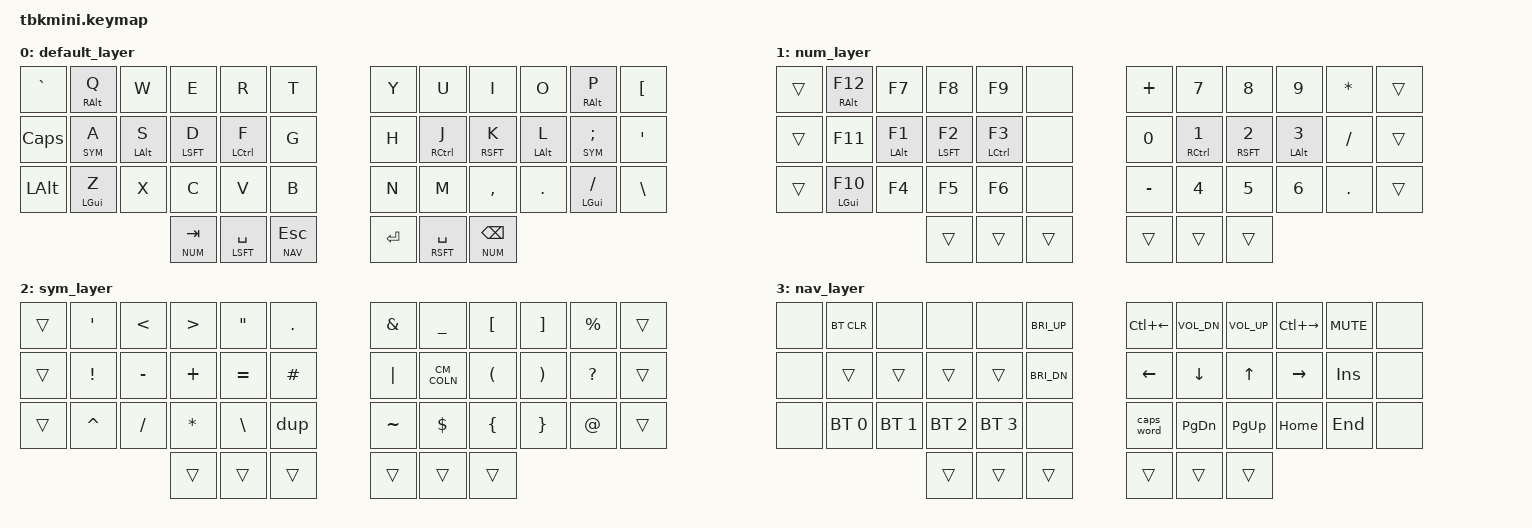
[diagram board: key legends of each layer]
#include <behaviors.dtsi>
#include <dt-bindings/zmk/keys.h>
#include <dt-bindings/zmk/outputs.h>
#include <dt-bindings/zmk/bt.h>
#include "keymap_colemak.h"

#define QWERTY 0
#define NUM 1
#define SYM 2
#define NAV 3

#define L_KEYS 0 1 2 3 4 5 12 13 14 15 16 17 24 25 26 27 28 29
#define R_KEYS 6 7 8 9 10 11 18 19 20 21 22 23 30 31 32 33 34 35
#define THUMBS 36 37 38 39 40 41

&lt {
  tapping-term-ms = <170>;
  quick_tap_ms = <150>;
  flavor = "tap-preferred";
};

&mt {
  tapping-term-ms = <170>;
  compatible = "zmk,behavior-hold-tap";
  #binding-cells = <2>;
  quick-tap-ms = <150>;
  flavor = "tap-preferred";
};

&caps_word {
    /delete-property/ ignore-modifiers;
    continue-list = <UNDERSCORE MINUS Y>;
};

/ {
  chosen {
    zmk,matrix_transform = &default_transform;
  };

  behaviors {
        lhm: left_home_row_mods {
            compatible = "zmk,behavior-hold-tap";
            flavor = "balanced";
            #binding-cells = <2>;
            tapping-term-ms = <200>;
            quick-tap-ms = <175>;                // repeat on tap-into-hold
            require-prior-idle-ms = <100>;
            bindings = <&kp>, <&kp>;
            hold-trigger-key-positions = <R_KEYS THUMBS>;
            hold-trigger-on-release;             // delay positional check until key-release
        };

        rhm: right_home_row_mods {
            compatible = "zmk,behavior-hold-tap";
            flavor = "balanced";
            #binding-cells = <2>;
            tapping-term-ms = <200>;
            quick-tap-ms = <175>;                // repeat on tap-into-hold
            require-prior-idle-ms = <100>;
            bindings = <&kp>, <&kp>;
            hold-trigger-key-positions = <L_KEYS THUMBS>;
            hold-trigger-on-release;             // delay positional check until key-release
        };

        rlm: right_row_layer {
            compatible = "zmk,behavior-hold-tap";
            flavor = "balanced";
            #binding-cells = <2>;
            tapping-term-ms = <200>;
            quick-tap-ms = <175>;                // repeat on tap-into-hold
            require-prior-idle-ms = <100>;
            bindings = <&mo>, <&kp>;
            hold-trigger-key-positions = <L_KEYS THUMBS>;
            hold-trigger-on-release;             // delay positional check until key-release
        };

        llm: left_row_layer {
            compatible = "zmk,behavior-hold-tap";
            flavor = "balanced";
            #binding-cells = <2>;
            tapping-term-ms = <200>;
            quick-tap-ms = <175>;                // repeat on tap-into-hold
            require-prior-idle-ms = <100>;
            bindings = <&mo>, <&kp>;
            hold-trigger-key-positions = <R_KEYS THUMBS>;
            hold-trigger-on-release;             // delay positional check until key-release
        };
    };

  macros {
        dup: dup {
            compatible = "zmk,behavior-macro";
            #binding-cells = <0>;
            bindings
                = <&macro_tap &kp DOT &kp DOT &kp FSLH>
                ;
        };
    };

  keymap {
        compatible = "zmk,keymap";

                default_layer {
// /--------------------------------------------------------------\       /-------------------------------------------------------------\
// |   ESC        |    Q    |    W   |   E    |    R    |    T    |       |    Y    |    U    |    I    |    O    |     P    |    \     |
// |--------------+---------+--------+--------+---------+---------|       |---------+---------+---------+---------+----------+----------|
// |   CAPSLCK    |    A    |    S   |   D    |    F    |    G    |       |    H    |    J    |    K    |    L    |     ;    |     '    |
// |--------------+---------+--------+--------+---------+---------|       |---------+---------+---------+---------+----------+----------|
// |   ALT        |    Z    |    X   |   C    |    V    |    B    |       |    N    |    M    |    ,    |    .    |     /    | ` | ALT  |
// \---------------------------------+--------+---------+---------+       |---------+---------+---------+-------------------------------/
//                                   | NUM/TAB|   SPC   | NAV/ESC |       | NAV/ENT |   SPC   | NUM/BSPC|
//                                   \--------+---------+---------/       \---------+---------+---------/

                        bindings = <
   &kp GRAVE   &lhm RALT Q  &kp W         &kp E         &kp R            &kp T            &kp Y    &kp U            &kp I         &kp O           &rhm RALT P     &kp LBKT
   &kp CLCK    &llm SYM A   &lhm LALT S   &lhm LSFT D   &lhm LCTL F      &kp G            &kp H    &rhm RCTL J      &rhm RSFT K   &rhm LALT L     &rlm SYM SEMI   &kp SQT
   &kp LALT    &lhm LGUI Z  &kp X         &kp C         &kp V            &kp B            &kp N    &kp M            &kp COMMA     &kp DOT         &rhm LGUI FSLH  &kp BSLH
                                          &lt NUM TAB   &lhm LSFT SPACE  &lt NAV ESC      &kp RET  &rhm RSFT SPACE  &lt NUM BSPC
                        >;
                };

                num_layer {
// /--------------------------------------------------------------\       /-----------------------------------------------------------\
// |              |    F12   |    F7  |   F8   |   F9   |         |       |   +   |    7    |    8    |    9    |     *    |          |
// |--------------+----------+--------+--------+--------+---------|       |-------+---------+---------+---------+----------+----------|
// |              |    F11   |    F1  |   F2   |   F3   |         |       |   0   |    1    |    2    |    3    |     /    |          |
// |--------------+----------+--------+--------+--------+---------|       |-------+---------+---------+---------+----------+----------|
// |              |    F10   |    F4  |   F5   |   F6   |         |       |   -   |    4    |    5    |    6    |     .    |          |
// \----------------------------------+--------+--------+---------+       |-------+---------+---------+-------------------------------/
//                                   |        |         |         |       |       |         |         |
//                                   \--------+---------+---------/       \-------+---------+---------/

                        bindings = <
   &trans   &lhm RALT F12  &kp F7        &kp F8         &kp F9         &none            &kp PLUS    &kp N7          &kp N8         &kp N9          &kp ASTRK     &trans
   &trans   &kp F11        &lhm LALT F1  &lhm LSFT F2   &lhm LCTL F3   &none            &kp N0      &rhm RCTL N1    &rhm RSFT N2   &rhm LALT N3    &kp SLASH     &trans
   &trans   &lhm LGUI F10  &kp F4        &kp F5         &kp F6         &none            &kp MINUS   &kp N4          &kp N5         &kp N6          &kp DOT       &trans
                                         &trans         &trans         &trans           &trans      &trans          &trans
                        >;

                };

                sym_layer {
// /----------------------------------------------------------------\       /-----------------------------------------------------------------\
// |                |   '   |   <    |   >    |    "     |    .     |       |    &    |    _?    |    [    |    ]    |    %     |             |
// |----------------+-------+--------+--------+----------+----------|       |---------+----------+---------+---------+----------+-------------|
// |                |   !   |   -    |   +    |    =     |    #     |       |    |    |    :     |    (    |    )    |    ?     |             |
// |----------------+-------+--------+--------+----------+----------|       |---------+----------+---------+---------+----------+-------------|
// |                |   ^   |   /    |   *    |    \?    |    ../?  |       |    ~    |    $     |    {    |    }    |    @     |             |
// \---------------------------------+--------+----------+----------+       |---------+----------+---------+----------------------------------/
//                                   |        |          |          |       |         |          |         |
//                                   \--------+----------+----------/       \---------+----------+---------/

                        bindings = <
   &trans   &kp SQT    &kp LT      &kp GT     &kp DQT    &kp DOT           &kp AMPS    &kp UNDER   &kp LBKT    &kp RBKT    &kp PRCNT   &trans
   &trans   &kp EXCL   &kp MINUS   &kp PLUS   &kp EQUAL  &kp HASH          &kp PIPE    &kp CM_COLN &kp LPAR    &kp RPAR    &kp QMARK   &trans
   &trans   &kp CARET  &kp FSLH    &kp STAR   &kp BSLH   &dup              &kp TILDE   &kp DLLR    &kp LBRC    &kp RBRC    &kp AT      &trans
                                   &trans     &trans     &trans            &trans      &trans      &trans
                        >;
                };

                nav_layer {
// /--------------------------------------------------------\       /--------------------------------------------------------------\
// |         | BT CLR |        |        |         |  BRI UP |       |  CLEFT |  VOL-  |   VOL+  |  CRIGHT |   MUTE   |             |
// |---------+--------+--------+--------+---------+---------|       |--------+--------+---------+---------+----------+-------------|
// |         |        |        |        |         |  BRI DN |       |  LEFT  |  DOWN  |    UP   |  RIGHT  |  INSERT  |             |
// |---------+--------+--------+--------+---------+---------|       |--------+--------+---------+---------+----------+-------------|
// |         |  BT 1  |  BT 2  |  BT 3  |  BT 4   |         |       |  CPWRD | PGDWN  |   PGUP  |  HOME   |   END    |             |
// \---------------------------+--------+---------+---------+       |--------+--------+---------+----------------------------------/
//                             |        |         |         |       |        |        |         |
//                             \--------+---------+---------/       \--------+--------+---------/

                        bindings = <
   &none   &bt BT_CLR    &none         &none         &none          &kp C_BRI_UP          &kp LC(LEFT)  &kp C_VOL_DN  &kp C_VOL_UP  &kp LC(RIGHT)  &kp C_MUTE   &none
   &none   &trans        &trans        &trans        &trans         &kp C_BRI_DN          &kp LEFT      &kp DOWN      &kp UP        &kp RIGHT      &kp INS      &none
   &none   &bt BT_SEL 0  &bt BT_SEL 1  &bt BT_SEL 2  &bt BT_SEL 3   &none                 &caps_word    &kp PG_DN     &kp PG_UP     &kp HOME       &kp END      &none
                                       &trans        &trans         &trans                &trans        &trans        &trans
                        >;
               };
        };
};
